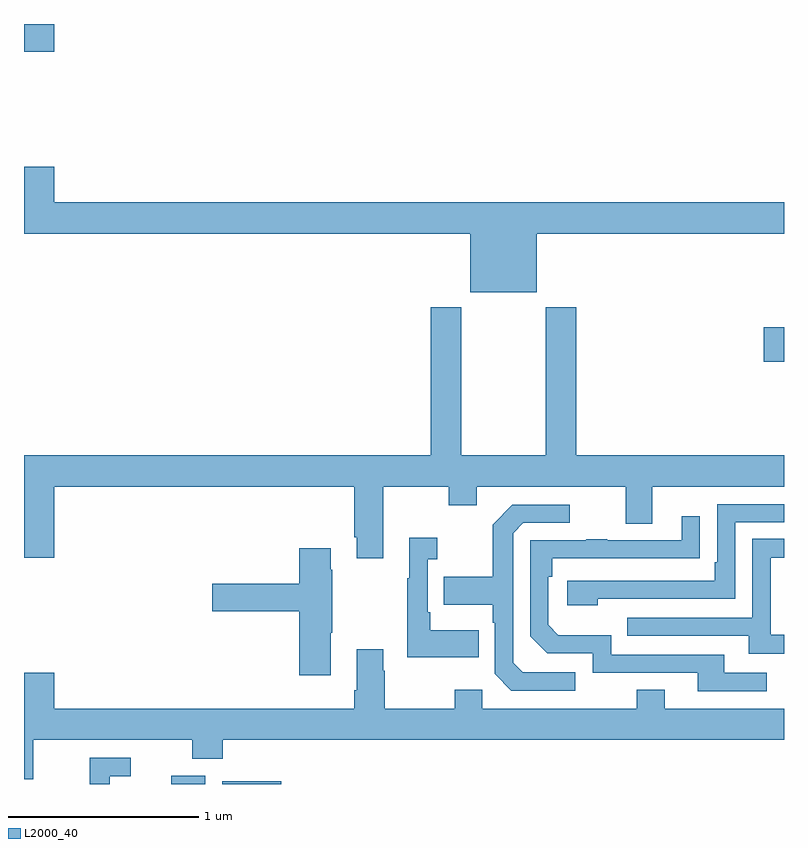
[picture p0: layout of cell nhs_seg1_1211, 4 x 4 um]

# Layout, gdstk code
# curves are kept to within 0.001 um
import gdstk
lib = gdstk.Library(unit=1e-6, precision=1e-09)
def R(c, l, rs):  # rectangles x0, y0, x1, y1
    for r in rs: c.add(gdstk.rectangle(r[:2], r[2:], *l))
def P(c, l, *ps):  # polygons
    for p in ps: c.add(gdstk.Polygon(p, *l))
L2000_40 = (2000, 40)

nhs_seg1_1211 = lib.new_cell('nhs_seg1_1211')
R(nhs_seg1_1211, L2000_40, [(177.776,518.199,177.955,518.242), (178.044,518.199,178.354,518.214), (180.894,520.421,181,520.604), (177,522.054,177.16,522.199)])
P(nhs_seg1_1211, L2000_40, [(179.698,521.096),(181,521.096),(181,521.26),(177.16,521.26),(177.16,521.449),(177,521.449),(177,521.096),(179.348,521.096),(179.348,520.787),(179.698,520.787)],
  [(178.891,519.764),(179.236,519.764),(179.236,519.665),(179.383,519.665),(179.383,519.764),(180.167,519.764),(180.167,519.57),(180.307,519.57),(180.307,519.764),(181,519.764),(181,519.928),(179.906,519.928),(179.906,520.708),(179.746,520.708),(179.746,519.928),(179.301,519.928),(179.301,520.708),(179.141,520.708),(179.141,519.928),(177,519.928),(177,519.39),(177.16,519.39),(177.16,519.764),(178.739,519.764),(178.739,519.499),(178.751,519.499),(178.751,519.387),(178.891,519.387)],
  [(180.02,519.174),(180.744,519.174),(180.744,519.576),(181,519.576),(181,519.672),(180.648,519.672),(180.648,519.367),(180.635,519.367),(180.635,519.27),(179.859,519.27),(179.859,519.14),(180.02,519.14)],
  [(179.902,518.787),(179.625,518.787),(179.574,518.838),(179.574,519.519),(179.628,519.573),(179.872,519.573),(179.872,519.669),(179.571,519.669),(179.466,519.563),(179.466,519.291),(179.209,519.291),(179.209,519.143),(179.466,519.143),(179.466,519.047),(179.478,519.047),(179.478,518.778),(179.565,518.691),(179.902,518.691)],
  [(180.91,518.784),(180.685,518.784),(180.685,518.88),(180.09,518.88),(180.09,518.983),(179.813,518.983),(179.76,519.036),(179.76,519.29),(179.78,519.29),(179.78,519.387),(180.557,519.388),(180.557,519.607),(180.461,519.607),(180.461,519.483),(180.071,519.483),(180.071,519.488),(179.959,519.488),(179.959,519.483),(179.664,519.483),(179.664,518.976),(179.754,518.886),(179.994,518.886),(179.994,518.784),(180.545,518.784),(180.545,518.688),(180.91,518.688)],
  [(179.393,519.007),(179.137,519.007),(179.137,519.103),(179.124,519.103),(179.124,519.383),(179.176,519.383),(179.176,519.496),(179.027,519.496),(179.027,519.283),(179.016,519.283),(179.016,518.867),(179.393,518.867)],
  [(181,518.985),(180.93,518.985),(180.93,519.39),(181,519.39),(181,519.491),(180.834,519.491),(180.834,519.075),(180.175,519.075),(180.175,518.979),(180.815,518.979),(180.815,518.885),(181,518.885)],
  [(178.615,518.995),(178.623,518.995),(178.623,519.326),(178.615,519.326),(178.615,519.439),(178.448,519.439),(178.448,519.254),(177.99,519.254),(177.99,519.107),(178.448,519.107),(178.448,518.772),(178.615,518.772)],
  [(177.049,518.432),(177.886,518.432),(177.886,518.333),(178.046,518.333),(178.046,518.432),(181,518.432),(181,518.596),(180.373,518.596),(180.373,518.695),(180.226,518.695),(180.226,518.596),(179.412,518.596),(179.412,518.695),(179.266,518.695),(179.266,518.596),(178.899,518.596),(178.899,518.795),(178.891,518.795),(178.891,518.908),(178.751,518.908),(178.751,518.692),(178.739,518.692),(178.739,518.596),(177.16,518.596),(177.16,518.785),(177,518.785),(177,518.224),(177.049,518.224)],
  [(177.451,518.241),(177.562,518.241),(177.562,518.337),(177.347,518.337),(177.347,518.199),(177.451,518.199)])

lib.write_gds('nhs_seg1_1211.gds')
